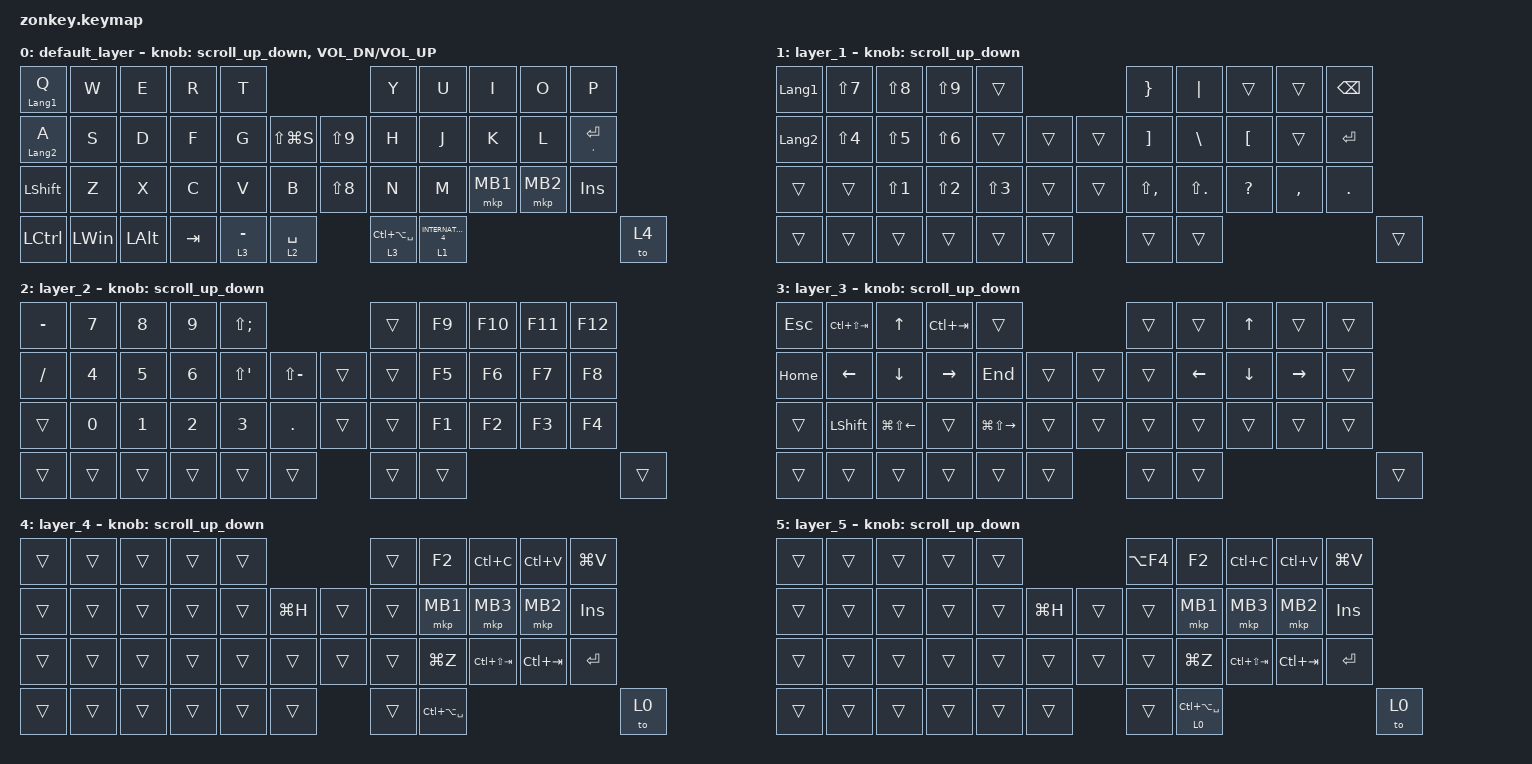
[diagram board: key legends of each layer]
#include <physical_layouts.dtsi>
#include <behaviors.dtsi>
#include <dt-bindings/zmk/keys.h>
#include <dt-bindings/zmk/pointing.h>

#define ZMK_POINTING_DEFAULT_SCRL_VAL 100
#define DFb 0
#define JIS 1
#define BT 4
#define MOUSE 6
#define JP_DQUOTE       AT                // "
#define JP_AMPERSAND    CARET             // &
#define JP_QUOTE        AMPERSAND         // '
#define JP_EQUAL        UNDER             // =
#define JP_CARET        EQUAL             // ^
#define JP_YEN          0x89              // ¥
#define JP_PLUS         COLON             // +
#define JP_TILDE        PLUS              // ~
#define JP_PIPE         LS(0x89)          // |
#define JP_AT           LEFT_BRACKET      // @
#define JP_COLON        SINGLE_QUOTE      // :
#define JP_ASTERISK     DOUBLE_QUOTES     // *
#define JP_BACKQUOTE    LEFT_BRACE        // `
#define JP_UNDERSCORE   LS(0x87)          // _
#define JP_LBRACKET     RIGHT_BRACKET     // [
#define JP_RBRACKET     BACKSLASH         // ]
#define JP_LPAREN       ASTERISK          // (
#define JP_RPAREN       LEFT_PARENTHESIS  // )
#define JP_LBRACE       RIGHT_BRACE       // {
#define JP_RBRACE       PIPE              // }
#define JP_KANA         LANGUAGE_1        // かな
#define JP_EISU         LANGUAGE_2        // 英数
#define JP_HANZEN       GRAVE             // 半角/全角
#define JP_BSLH  INT1         // (backslash)

#define U_MOUSE_MOVE_MAX 1400  // 新しい最大速度設定（デフォルトは600）
#undef MOVE_UP
#undef MOVE_DOWN
#undef MOVE_LEFT
#undef MOVE_RIGHT
#define MOVE_UP MOVE_VERT(-U_MOUSE_MOVE_MAX)
#define MOVE_DOWN MOVE_VERT(U_MOUSE_MOVE_MAX)
#define MOVE_LEFT MOVE_HOR(-U_MOUSE_MOVE_MAX)
#define MOVE_RIGHT MOVE_HOR(U_MOUSE_MOVE_MAX)

&mt {
    flavor = "balanced";
    quick-tap-ms = <0>;
};

/ {
    combos { compatible = "zmk,combos"; };

    macros {
        to_layer_0: to_layer_0 {
            compatible = "zmk,behavior-macro-one-param";
            #binding-cells = <1>;
            bindings = <&to 0 &macro_param_1to1 &kp MACRO_PLACEHOLDER>;
            label = "TO_LAYER_0";
        };
    };

    behaviors {
        lt_to_layer_0: lt_to_layer_0 {
            compatible = "zmk,behavior-hold-tap";
            label = "LAYER_TAP_TO_0";
            bindings = <&mo>, <&to_layer_0>;

            #binding-cells = <2>;
            tapping-term-ms = <200>;
        };

        mo2: mo2 {
            compatible = "zmk,behavior-mod-morph";
            #binding-cells = <0>;
            bindings = <&kp N2>, <&kp AT>;

            mods = <(MOD_LSFT|MOD_RSFT)>;
        };

        mo6: mo6 {
            compatible = "zmk,behavior-mod-morph";
            #binding-cells = <0>;
            bindings = <&kp N6>, <&kp CARET>;

            mods = <(MOD_LSFT|MOD_RSFT)>;
        };

        mo7: mo7 {
            compatible = "zmk,behavior-mod-morph";
            #binding-cells = <0>;
            bindings = <&kp N7>, <&kp AMPS>;

            mods = <(MOD_LSFT|MOD_RSFT)>;
        };

        mo8: mo8 {
            compatible = "zmk,behavior-mod-morph";
            #binding-cells = <0>;
            bindings = <&kp N8>, <&kp ASTRK>;

            mods = <(MOD_LSFT|MOD_RSFT)>;
        };

        mo9: mo9 {
            compatible = "zmk,behavior-mod-morph";
            #binding-cells = <0>;
            bindings = <&kp N9>, <&kp LPAR>;

            mods = <(MOD_LSFT|MOD_RSFT)>;
        };

        mo0: mo0 {
            compatible = "zmk,behavior-mod-morph";
            #binding-cells = <0>;
            bindings = <&kp N0>, <&kp LS(N9)>;

            mods = <(MOD_LSFT|MOD_RSFT)>;
        };

        moA: moA {
            compatible = "zmk,behavior-mod-morph";
            #binding-cells = <0>;
            bindings = <&kp MINUS>, <&kp UNDERSCORE>;

            mods = <(MOD_LSFT|MOD_RSFT)>;
        };

        moB: moB {
            compatible = "zmk,behavior-mod-morph";
            #binding-cells = <0>;
            bindings = <&kp EQUAL>, <&kp PLUS>;

            mods = <(MOD_LSFT|MOD_RSFT)>;
        };

        moC: moC {
            compatible = "zmk,behavior-mod-morph";
            #binding-cells = <0>;
            bindings = <&kp INT3>, <&kp JP_PIPE>;

            mods = <(MOD_LSFT|MOD_RSFT)>;
        };

        moD: moD {
            compatible = "zmk,behavior-mod-morph";
            #binding-cells = <0>;
            bindings = <&kp LBKT>, <&kp LBRC>;

            mods = <(MOD_LSFT|MOD_RSFT)>;
        };

        moE: moE {
            compatible = "zmk,behavior-mod-morph";
            #binding-cells = <0>;
            bindings = <&kp RBKT>, <&kp RBRC>;

            mods = <(MOD_LSFT|MOD_RSFT)>;
        };

        moF: moF {
            compatible = "zmk,behavior-mod-morph";
            #binding-cells = <0>;
            bindings = <&kp SEMI>, <&kp KP_PLUS>;

            mods = <(MOD_LSFT|MOD_RSFT)>;
        };

        moG: moG {
            compatible = "zmk,behavior-mod-morph";
            #binding-cells = <0>;
            bindings = <&kp APOSTROPHE>, <&kp DQT>;

            mods = <(MOD_LSFT|MOD_RSFT)>;
        };

        moH: moH {
            compatible = "zmk,behavior-mod-morph";
            #binding-cells = <0>;
            bindings = <&kp BACKSLASH>, <&kp TILDE2>;

            mods = <(MOD_LSFT|MOD_RSFT)>;
        };

        moI: moI {
            compatible = "zmk,behavior-mod-morph";
            #binding-cells = <0>;
            bindings = <&kp JP_BSLH>, <&kp JP_UNDERSCORE>;

            mods = <(MOD_LSFT|MOD_RSFT)>;
        };

        scroll_up_down: behavior_sensor_rotate_mouse_wheel_up_down {
            compatible = "zmk,behavior-sensor-rotate";
            #sensor-binding-cells = <0>;
            bindings = <&msc SCRL_UP>, <&msc SCRL_DOWN>;

            tap-ms = <20>;
        };
    };

    keymap {
        compatible = "zmk,keymap";

        default_layer {
            bindings = <
&mt LANGUAGE_1 Q  &kp W         &kp E         &kp R    &kp T                                           &kp Y                &kp U                  &kp I     &kp O     &kp P
&mt LANGUAGE_2 A  &kp S         &kp D         &kp F    &kp G        &kp LS(LG(S))    &kp LS(NUMBER_9)  &kp H                &kp J                  &kp K     &kp L     &mt SQT ENTER
&kp LEFT_SHIFT    &kp Z         &kp X         &kp C    &kp V        &kp B            &kp LS(NUMBER_8)  &kp N                &kp M                  &mkp MB1  &mkp MB2  &kp INSERT
&kp LCTRL         &kp LEFT_WIN  &kp LEFT_ALT  &kp TAB  &lt 3 MINUS  &lt 2 SPACE                        &lt 3 LC(LA(SPACE))  &lt 1 INTERNATIONAL_4                                     &to 4
            >;

            sensor-bindings =
                <&scroll_up_down>,
                <&inc_dec_kp C_VOL_DN C_VOL_UP>;
        };

        layer_1 {
            bindings = <
&kp LANGUAGE_1  &kp LS(NUMBER_7)  &kp LS(NUMBER_8)  &kp LS(NUMBER_9)  &trans                              &kp RIGHT_BRACE    &kp PIPE        &trans            &trans     &kp BACKSPACE
&kp LANGUAGE_2  &kp LS(NUMBER_4)  &kp LS(NUMBER_5)  &kp LS(NUMBER_6)  &trans            &trans    &trans  &kp RIGHT_BRACKET  &kp BACKSLASH   &kp LEFT_BRACKET  &trans     &kp ENTER
&trans          &trans            &kp LS(NUMBER_1)  &kp LS(NUMBER_2)  &kp LS(NUMBER_3)  &trans    &trans  &kp LS(COMMA)      &kp LS(PERIOD)  &kp QUESTION      &kp COMMA  &kp PERIOD
&trans          &trans            &trans            &trans            &trans            &trans            &trans             &trans                                                      &trans
            >;

            sensor-bindings = <&scroll_up_down>;
        };

        layer_2 {
            bindings = <
&kp MINUS  &kp N7        &kp N8  &kp N9  &kp LS(SEMICOLON)                           &trans  &kp F9  &kp F10  &kp F11  &kp F12
&kp SLASH  &kp N4        &kp N5  &kp N6  &kp LS(SQT)        &kp LS(MINUS)    &trans  &trans  &kp F5  &kp F6   &kp F7   &kp F8
&trans     &kp NUMBER_0  &kp N1  &kp N2  &kp N3             &kp DOT          &trans  &trans  &kp F1  &kp F2   &kp F3   &kp F4
&trans     &trans        &trans  &trans  &trans             &trans                   &trans  &trans                             &trans
            >;

            sensor-bindings = <&scroll_up_down>;
        };

        layer_3 {
            bindings = <
&kp ESCAPE  &kp LC(LS(TAB))  &kp UP_ARROW            &kp LC(TAB)      &trans                                     &trans  &trans          &kp UP_ARROW    &trans           &trans
&kp HOME    &kp LEFT_ARROW   &kp DOWN_ARROW          &kp RIGHT_ARROW  &kp END                  &trans    &trans  &trans  &kp LEFT_ARROW  &kp DOWN_ARROW  &kp RIGHT_ARROW  &trans
&trans      &kp LEFT_SHIFT   &kp LG(LS(LEFT_ARROW))  &trans           &kp LG(LS(RIGHT_ARROW))  &trans    &trans  &trans  &trans          &trans          &trans           &trans
&trans      &trans           &trans                  &trans           &trans                   &trans            &trans  &trans                                                   &trans
            >;

            sensor-bindings = <&scroll_up_down>;
        };

        layer_4 {
            bindings = <
&trans  &trans  &trans  &trans  &trans                       &trans  &kp F2             &kp LC(C)        &kp LC(V)    &kp LG(V)
&trans  &trans  &trans  &trans  &trans  &kp LG(H)    &trans  &trans  &mkp MB1           &mkp MB3         &mkp MB2     &kp INSERT
&trans  &trans  &trans  &trans  &trans  &trans       &trans  &trans  &kp LG(Z)          &kp LC(LS(TAB))  &kp LC(TAB)  &kp ENTER
&trans  &trans  &trans  &trans  &trans  &trans               &trans  &kp LC(LA(SPACE))                                            &to 0
            >;

            sensor-bindings = <&scroll_up_down>;
        };

        layer_5 {
            bindings = <
&trans  &trans  &trans  &trans  &trans                       &kp LA(F4)  &kp F2               &kp LC(C)        &kp LC(V)    &kp LG(V)
&trans  &trans  &trans  &trans  &trans  &kp LG(H)    &trans  &trans      &mkp MB1             &mkp MB3         &mkp MB2     &kp INSERT
&trans  &trans  &trans  &trans  &trans  &trans       &trans  &trans      &kp LG(Z)            &kp LC(LS(TAB))  &kp LC(TAB)  &kp ENTER
&trans  &trans  &trans  &trans  &trans  &trans               &trans      &lt 0 LC(LA(SPACE))                                            &to 0
            >;

            sensor-bindings = <&scroll_up_down>;
        };
    };
};
